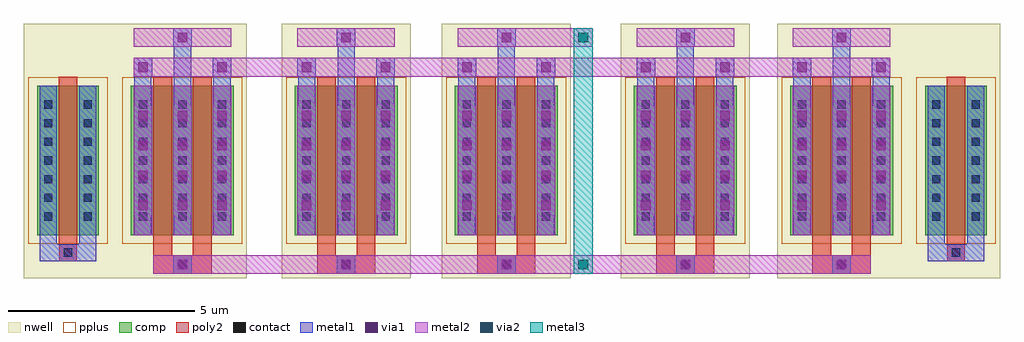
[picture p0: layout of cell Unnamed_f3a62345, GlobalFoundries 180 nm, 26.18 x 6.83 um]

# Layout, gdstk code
import gdstk
lib = gdstk.Library(unit=1e-6, precision=5e-09)
def R(c, l, rs):  # rectangles x0, y0, x1, y1
    for r in rs: c.add(gdstk.rectangle(r[:2], r[2:], *l))
def A(c, l, x, y, w, h, nx, ny, dx, dy):  # array of equal rectangles
    R(c, l, [(x+i*dx, y+j*dy, x+i*dx+w, y+j*dy+h) for i in range(nx) for j in range(ny)])
def P(c, l, *ps):  # polygons
    for p in ps: c.add(gdstk.Polygon(p, *l))
nwell = (21, 0)
comp = (22, 0)
poly2 = (30, 0)
pplus = (31, 0)
contact = (33, 0)
metal1 = (34, 0)
via1 = (35, 0)
metal2 = (36, 0)
via2 = (38, 0)
metal3 = (42, 0)

unnamed_41bc7375 = lib.new_cell('Unnamed_41bc7375')
R(unnamed_41bc7375, nwell, [(-2.99,-3.415,2.99,3.415)])
R(unnamed_41bc7375, comp, [(-2.64,-2.255,-0.98,1.745), (-0.12,-2.255,2.64,1.745)])
R(unnamed_41bc7375, poly2, [(0.48,-3.295,2.04,-2.795), (1.08,-3.225,1.44,-2.865), (-2.04,-2.955,-1.58,-2.495), (-1.99,-2.905,-1.63,-2.545), (0.48,-2.795,0.98,-2.495), (1.54,-2.795,2.04,-2.495), (-2.06,-2.495,-1.56,1.985), (0.48,-2.495,0.98,1.985), (1.54,-2.495,2.04,1.985)])
R(unnamed_41bc7375, pplus, [(-2.87,-2.485,-0.75,1.975), (-0.35,-2.485,2.87,1.975)])
A(unnamed_41bc7375, contact, -2.45, -1.865, 0.22, 0.22, 1, 7, 0, 0.5)
A(unnamed_41bc7375, contact, -1.39, -1.865, 0.22, 0.22, 1, 7, 0, 0.5)
A(unnamed_41bc7375, contact, 0.09, -1.865, 0.22, 0.22, 3, 7, 1.06, 0.5)
R(unnamed_41bc7375, contact, [(1.15,-3.155,1.37,-2.935), (-1.92,-2.835,-1.7,-2.615)])
A(unnamed_41bc7375, metal1, -0.03, -2.255, 0.46, 4, 3, 1, 1.06, 0)
A(unnamed_41bc7375, metal1, -2.57, -1.985, 0.46, 0.46, 1, 7, 0, 0.5)
A(unnamed_41bc7375, metal1, -1.51, -1.985, 0.46, 0.46, 1, 7, 0, 0.5)
A(unnamed_41bc7375, metal1, -0.03, -1.985, 0.46, 0.46, 3, 7, 1.06, 0.5)
A(unnamed_41bc7375, metal1, -0.05, -1.705, 0.5, 0.5, 3, 4, 1.06, 0.8)
A(unnamed_41bc7375, metal1, -0.05, -1.705, 0.5, 2.9, 3, 1, 1.06, 0)
R(unnamed_41bc7375, metal1, [(1.01,-3.295,1.51,-2.795), (-2.57,-2.955,-2.04,-2.495), (-2.57,-2.955,-2.11,-2.255), (-2.04,-2.955,-1.58,-2.495), (-1.58,-2.955,-1.05,-2.495), (-1.51,-2.955,-1.05,-2.255), (-2.57,-2.255,-2.11,1.745), (-1.51,-2.255,-1.05,1.745), (-0.03,1.745,0.43,2.495), (1.03,1.745,1.49,3.295), (2.09,1.745,2.55,2.495), (-0.05,1.995,0.45,2.495), (2.07,1.995,2.57,2.495), (1.01,2.795,1.51,3.295)])
A(unnamed_41bc7375, via1, 0.07, -1.585, 0.26, 0.26, 3, 4, 1.06, 0.8)
R(unnamed_41bc7375, via1, [(1.13,-3.175,1.39,-2.915), (0.07,2.115,0.33,2.375), (2.19,2.115,2.45,2.375), (1.13,2.915,1.39,3.175)])
A(unnamed_41bc7375, metal2, -0.05, -2.255, 0.5, 4, 3, 1, 1.06, 0)
A(unnamed_41bc7375, metal2, -0.05, -1.705, 0.5, 0.5, 3, 4, 1.06, 0.8)
R(unnamed_41bc7375, metal2, [(0.48,-3.295,2.04,-2.795), (1.01,-3.295,1.51,-2.795), (-0.05,1.995,0.45,2.495), (-0.05,1.995,2.57,2.495), (2.07,1.995,2.57,2.495), (-0.05,2.795,2.57,3.295), (1.01,2.795,1.51,3.295)])

unnamed_53f1817a = lib.new_cell('Unnamed_53f1817a')
R(unnamed_53f1817a, nwell, [(-1.73,-3.415,1.73,3.415)])
R(unnamed_53f1817a, comp, [(-1.38,-2.255,1.38,1.745)])
R(unnamed_53f1817a, poly2, [(-0.78,-3.295,0.78,-2.795), (-0.18,-3.225,0.18,-2.865), (-0.78,-2.795,-0.28,-2.495), (0.28,-2.795,0.78,-2.495), (-0.78,-2.495,-0.28,1.985), (0.28,-2.495,0.78,1.985)])
R(unnamed_53f1817a, pplus, [(-1.61,-2.485,1.61,1.975)])
A(unnamed_53f1817a, contact, -1.17, -1.865, 0.22, 0.22, 3, 7, 1.06, 0.5)
R(unnamed_53f1817a, contact, [(-0.11,-3.155,0.11,-2.935)])
A(unnamed_53f1817a, metal1, -1.29, -2.255, 0.46, 4, 3, 1, 1.06, 0)
A(unnamed_53f1817a, metal1, -1.29, -1.985, 0.46, 0.46, 3, 7, 1.06, 0.5)
A(unnamed_53f1817a, metal1, -1.31, -1.705, 0.5, 0.5, 3, 4, 1.06, 0.8)
A(unnamed_53f1817a, metal1, -1.31, -1.705, 0.5, 2.9, 3, 1, 1.06, 0)
R(unnamed_53f1817a, metal1, [(-0.25,-3.295,0.25,-2.795), (-1.29,1.745,-0.83,2.495), (-0.23,1.745,0.23,3.295), (0.83,1.745,1.29,2.495), (-1.31,1.995,-0.81,2.495), (0.81,1.995,1.31,2.495), (-0.25,2.795,0.25,3.295)])
A(unnamed_53f1817a, via1, -1.19, -1.585, 0.26, 0.26, 3, 4, 1.06, 0.8)
R(unnamed_53f1817a, via1, [(-0.13,-3.175,0.13,-2.915), (-1.19,2.115,-0.93,2.375), (0.93,2.115,1.19,2.375), (-0.13,2.915,0.13,3.175)])
A(unnamed_53f1817a, metal2, -1.31, -2.255, 0.5, 4, 3, 1, 1.06, 0)
A(unnamed_53f1817a, metal2, -1.31, -1.705, 0.5, 0.5, 3, 4, 1.06, 0.8)
R(unnamed_53f1817a, metal2, [(-0.78,-3.295,0.78,-2.795), (-0.25,-3.295,0.25,-2.795), (-1.31,1.995,-0.81,2.495), (-1.31,1.995,1.31,2.495), (0.81,1.995,1.31,2.495), (-1.31,2.795,1.31,3.295), (-0.25,2.795,0.25,3.295)])

unnamed_45c7a214 = lib.new_cell('Unnamed_45c7a214')
R(unnamed_45c7a214, nwell, [(-1.73,-3.415,1.73,3.415)])
R(unnamed_45c7a214, comp, [(-1.38,-2.255,1.38,1.745)])
R(unnamed_45c7a214, poly2, [(-0.78,-3.295,0.78,-2.795), (-0.18,-3.225,0.18,-2.865), (-0.78,-2.795,-0.28,-2.495), (0.28,-2.795,0.78,-2.495), (-0.78,-2.495,-0.28,1.985), (0.28,-2.495,0.78,1.985)])
R(unnamed_45c7a214, pplus, [(-1.61,-2.485,1.61,1.975)])
A(unnamed_45c7a214, contact, -1.17, -1.865, 0.22, 0.22, 3, 7, 1.06, 0.5)
R(unnamed_45c7a214, contact, [(-0.11,-3.155,0.11,-2.935)])
A(unnamed_45c7a214, metal1, -1.29, -2.255, 0.46, 4, 3, 1, 1.06, 0)
A(unnamed_45c7a214, metal1, -1.29, -1.985, 0.46, 0.46, 3, 7, 1.06, 0.5)
A(unnamed_45c7a214, metal1, -1.31, -1.705, 0.5, 0.5, 3, 4, 1.06, 0.8)
A(unnamed_45c7a214, metal1, -1.31, -1.705, 0.5, 2.9, 3, 1, 1.06, 0)
R(unnamed_45c7a214, metal1, [(-0.25,-3.295,0.25,-2.795), (-1.29,1.745,-0.83,2.495), (-0.23,1.745,0.23,3.295), (0.83,1.745,1.29,2.495), (-1.31,1.995,-0.81,2.495), (0.81,1.995,1.31,2.495), (-0.25,2.795,0.25,3.295)])
A(unnamed_45c7a214, via1, -1.19, -1.585, 0.26, 0.26, 3, 4, 1.06, 0.8)
R(unnamed_45c7a214, via1, [(-0.13,-3.175,0.13,-2.915), (-1.19,2.115,-0.93,2.375), (0.93,2.115,1.19,2.375), (-0.13,2.915,0.13,3.175)])
A(unnamed_45c7a214, metal2, -1.31, -2.255, 0.5, 4, 3, 1, 1.06, 0)
A(unnamed_45c7a214, metal2, -1.31, -1.705, 0.5, 0.5, 3, 4, 1.06, 0.8)
R(unnamed_45c7a214, metal2, [(-0.78,-3.295,0.78,-2.795), (-0.25,-3.295,0.25,-2.795), (-1.31,1.995,-0.81,2.495), (-1.31,1.995,1.31,2.495), (0.81,1.995,1.31,2.495), (-1.31,2.795,1.31,3.295), (-0.25,2.795,0.25,3.295)])

unnamed_772fb118 = lib.new_cell('Unnamed_772fb118')
R(unnamed_772fb118, nwell, [(-1.73,-3.415,1.73,3.415)])
R(unnamed_772fb118, comp, [(-1.38,-2.255,1.38,1.745)])
R(unnamed_772fb118, poly2, [(-0.78,-3.295,0.78,-2.795), (-0.18,-3.225,0.18,-2.865), (-0.78,-2.795,-0.28,-2.495), (0.28,-2.795,0.78,-2.495), (-0.78,-2.495,-0.28,1.985), (0.28,-2.495,0.78,1.985)])
R(unnamed_772fb118, pplus, [(-1.61,-2.485,1.61,1.975)])
A(unnamed_772fb118, contact, -1.17, -1.865, 0.22, 0.22, 3, 7, 1.06, 0.5)
R(unnamed_772fb118, contact, [(-0.11,-3.155,0.11,-2.935)])
A(unnamed_772fb118, metal1, -1.29, -2.255, 0.46, 4, 3, 1, 1.06, 0)
A(unnamed_772fb118, metal1, -1.29, -1.985, 0.46, 0.46, 3, 7, 1.06, 0.5)
A(unnamed_772fb118, metal1, -1.31, -1.705, 0.5, 0.5, 3, 4, 1.06, 0.8)
A(unnamed_772fb118, metal1, -1.31, -1.705, 0.5, 2.9, 3, 1, 1.06, 0)
R(unnamed_772fb118, metal1, [(-0.25,-3.295,0.25,-2.795), (-1.29,1.745,-0.83,2.495), (-0.23,1.745,0.23,3.295), (0.83,1.745,1.29,2.495), (-1.31,1.995,-0.81,2.495), (0.81,1.995,1.31,2.495), (-0.25,2.795,0.25,3.295)])
A(unnamed_772fb118, via1, -1.19, -1.585, 0.26, 0.26, 3, 4, 1.06, 0.8)
R(unnamed_772fb118, via1, [(-0.13,-3.175,0.13,-2.915), (-1.19,2.115,-0.93,2.375), (0.93,2.115,1.19,2.375), (-0.13,2.915,0.13,3.175)])
A(unnamed_772fb118, metal2, -1.31, -2.255, 0.5, 4, 3, 1, 1.06, 0)
A(unnamed_772fb118, metal2, -1.31, -1.705, 0.5, 0.5, 3, 4, 1.06, 0.8)
R(unnamed_772fb118, metal2, [(-0.78,-3.295,0.78,-2.795), (-0.25,-3.295,0.25,-2.795), (-1.31,1.995,-0.81,2.495), (-1.31,1.995,1.31,2.495), (0.81,1.995,1.31,2.495), (-1.31,2.795,1.31,3.295), (-0.25,2.795,0.25,3.295)])

unnamed_9c785c52 = lib.new_cell('Unnamed_9c785c52')
R(unnamed_9c785c52, nwell, [(-2.99,-3.415,2.99,3.415)])
R(unnamed_9c785c52, comp, [(-2.64,-2.255,0.12,1.745), (0.98,-2.255,2.64,1.745)])
R(unnamed_9c785c52, poly2, [(-2.04,-3.295,-0.48,-2.795), (-1.44,-3.225,-1.08,-2.865), (1.58,-2.955,2.04,-2.495), (1.63,-2.905,1.99,-2.545), (-2.04,-2.795,-1.54,-2.495), (-0.98,-2.795,-0.48,-2.495), (-2.04,-2.495,-1.54,1.985), (-0.98,-2.495,-0.48,1.985), (1.56,-2.495,2.06,1.985)])
R(unnamed_9c785c52, pplus, [(-2.87,-2.485,0.35,1.975), (0.75,-2.485,2.87,1.975)])
A(unnamed_9c785c52, contact, -2.43, -1.865, 0.22, 0.22, 3, 7, 1.06, 0.5)
A(unnamed_9c785c52, contact, 1.17, -1.865, 0.22, 0.22, 1, 7, 0, 0.5)
A(unnamed_9c785c52, contact, 2.23, -1.865, 0.22, 0.22, 1, 7, 0, 0.5)
R(unnamed_9c785c52, contact, [(-1.37,-3.155,-1.15,-2.935), (1.7,-2.835,1.92,-2.615)])
A(unnamed_9c785c52, metal1, -2.55, -2.255, 0.46, 4, 3, 1, 1.06, 0)
A(unnamed_9c785c52, metal1, -2.55, -1.985, 0.46, 0.46, 3, 7, 1.06, 0.5)
A(unnamed_9c785c52, metal1, 1.05, -1.985, 0.46, 0.46, 1, 7, 0, 0.5)
A(unnamed_9c785c52, metal1, 2.11, -1.985, 0.46, 0.46, 1, 7, 0, 0.5)
A(unnamed_9c785c52, metal1, -2.57, -1.705, 0.5, 0.5, 3, 4, 1.06, 0.8)
A(unnamed_9c785c52, metal1, -2.57, -1.705, 0.5, 2.9, 3, 1, 1.06, 0)
R(unnamed_9c785c52, metal1, [(-1.51,-3.295,-1.01,-2.795), (1.05,-2.955,1.58,-2.495), (1.05,-2.955,1.51,-2.255), (1.58,-2.955,2.04,-2.495), (2.04,-2.955,2.57,-2.495), (2.11,-2.955,2.57,-2.255), (1.05,-2.255,1.51,1.745), (2.11,-2.255,2.57,1.745), (-2.55,1.745,-2.09,2.495), (-1.49,1.745,-1.03,3.295), (-0.43,1.745,0.03,2.495), (-2.57,1.995,-2.07,2.495), (-0.45,1.995,0.05,2.495), (-1.51,2.795,-1.01,3.295)])
A(unnamed_9c785c52, via1, -2.45, -1.585, 0.26, 0.26, 3, 4, 1.06, 0.8)
R(unnamed_9c785c52, via1, [(-1.39,-3.175,-1.13,-2.915), (-2.45,2.115,-2.19,2.375), (-0.33,2.115,-0.07,2.375), (-1.39,2.915,-1.13,3.175)])
A(unnamed_9c785c52, metal2, -2.57, -2.255, 0.5, 4, 3, 1, 1.06, 0)
A(unnamed_9c785c52, metal2, -2.57, -1.705, 0.5, 0.5, 3, 4, 1.06, 0.8)
R(unnamed_9c785c52, metal2, [(-2.04,-3.295,-0.48,-2.795), (-1.51,-3.295,-1.01,-2.795), (-2.57,1.995,-2.07,2.495), (-2.57,1.995,0.05,2.495), (-0.45,1.995,0.05,2.495), (-2.57,2.795,0.05,3.295), (-1.51,2.795,-1.01,3.295)])

c_route_9aa1326b_9 = lib.new_cell('c_route_9aa1326b$9')
R(c_route_9aa1326b_9, metal2, [(11.03,-3.295,12.56,-2.795), (12.06,-3.295,12.56,-2.795), (11.56,2.795,12.56,3.295), (12.06,2.795,12.56,3.295)])
R(c_route_9aa1326b_9, via2, [(12.18,-3.175,12.44,-2.915), (12.18,2.915,12.44,3.175)])
R(c_route_9aa1326b_9, metal3, [(12.06,-3.295,12.56,-2.795), (12.06,-3.295,12.56,3.295), (12.06,2.795,12.56,3.295)])
P(c_route_9aa1326b_9, metal3, [(12.56,-3.295),(12.56,-3.295),(12.56,-2.795),(12.56,-2.795)],
  [(12.56,2.795),(12.56,2.795),(12.56,3.295),(12.56,3.295)])

straight_route_2829e4ba_ = lib.new_cell('straight_route_2829e4ba$11')
R(straight_route_2829e4ba_, metal2, [(2.34,-3.295,6.73,-2.795)])

straight_route_b5cc9ba1_ = lib.new_cell('straight_route_b5cc9ba1$9')
R(straight_route_b5cc9ba1_, metal2, [(6.73,-3.295,11.03,-2.795)])

straight_route_cd1fb00b_ = lib.new_cell('straight_route_cd1fb00b$6')
R(straight_route_cd1fb00b_, metal2, [(11.03,-3.295,15.83,-2.795)])

straight_route_bffc7de1_ = lib.new_cell('straight_route_bffc7de1$2')
R(straight_route_bffc7de1_, metal2, [(15.83,-3.295,20.02,-2.795)])

straight_route_972a9a5e_ = lib.new_cell('straight_route_972a9a5e$11')
R(straight_route_972a9a5e_, metal2, [(0.25,1.995,4.64,2.495)])

straight_route_5887be18_ = lib.new_cell('straight_route_5887be18$9')
R(straight_route_5887be18_, metal2, [(4.64,1.995,8.94,2.495)])

straight_route_1a6abb47_ = lib.new_cell('straight_route_1a6abb47$6')
R(straight_route_1a6abb47_, metal2, [(8.94,1.995,13.74,2.495)])

straight_route_276cea24_ = lib.new_cell('straight_route_276cea24$2')
R(straight_route_276cea24_, metal2, [(13.74,1.995,17.93,2.495)])

unnamed_f3a62345 = lib.new_cell('Unnamed_f3a62345')
unnamed_f3a62345.add(gdstk.Reference(unnamed_41bc7375, (0.3,0)))
unnamed_f3a62345.add(gdstk.Reference(unnamed_53f1817a, (10.25,0)))
unnamed_f3a62345.add(gdstk.Reference(unnamed_45c7a214, (5.95,0)))
unnamed_f3a62345.add(gdstk.Reference(unnamed_772fb118, (15.05,0)))
unnamed_f3a62345.add(gdstk.Reference(unnamed_9c785c52, (20.5,0)))
unnamed_f3a62345.add(gdstk.Reference(c_route_9aa1326b_9, (0,0)))
unnamed_f3a62345.add(gdstk.Reference(straight_route_2829e4ba_, (0,0)))
unnamed_f3a62345.add(gdstk.Reference(straight_route_b5cc9ba1_, (0,0)))
unnamed_f3a62345.add(gdstk.Reference(straight_route_cd1fb00b_, (0,0)))
unnamed_f3a62345.add(gdstk.Reference(straight_route_bffc7de1_, (0,0)))
unnamed_f3a62345.add(gdstk.Reference(straight_route_972a9a5e_, (0,0)))
unnamed_f3a62345.add(gdstk.Reference(straight_route_5887be18_, (0,0)))
unnamed_f3a62345.add(gdstk.Reference(straight_route_1a6abb47_, (0,0)))
unnamed_f3a62345.add(gdstk.Reference(straight_route_276cea24_, (0,0)))

lib.write_gds('Unnamed_f3a62345.gds')
